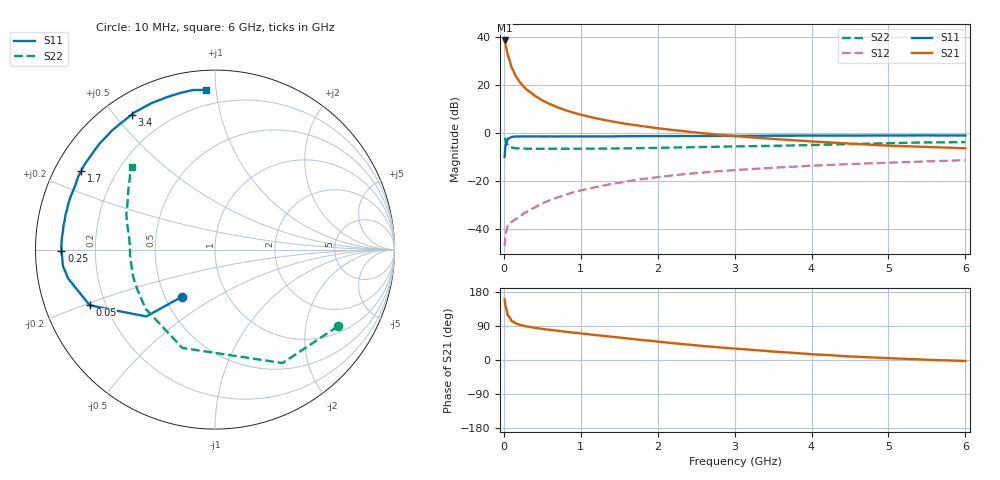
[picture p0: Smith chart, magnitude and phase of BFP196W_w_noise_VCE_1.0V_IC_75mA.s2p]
! (c) 2017  Infineon Technologies AG, Munich
! Infineon Technologies  Discrete & RF Semiconductors
! BFP196W
! VCE =  1.0 V,  IC =  75 mA
! Common Emitter S-Parameters:  Jan 2017
# GHz  S  MA  R  50
!  f  S11  S21  S12  S22
! GHz  MAG  ANG  MAG  ANG  MAG  ANG  MAG  ANG
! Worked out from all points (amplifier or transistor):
!   77 points, 10 MHz to 6 GHz, reference 50 ohm
!   highest |S21| = 38.5 dB at 10 MHz (marker M1)
!   |S21| within 3 dB of that: start of sweep to 31.25 MHz
!   unconditionally stable (mu >= 1): 394.4 MHz to 5.428 GHz; 5.567 GHz to end of sweep
!   at 130 MHz: K = 0.61, MSG = 30.8 dB, |S12| = -36.2 dB
!   at 2.2 GHz: K = 1.06, MAG = 7.9 dB, |S12| = -17.5 dB
!   at 6 GHz: K = 1.02, MAG = 1.7 dB, |S12| = -11.2 dB
!   lowest NFmin = 1.62 dB at 450 MHz
!   S11 on the Smith chart (normalised r, x): 10 MHz: 0.61, -0.36; 50 MHz: 0.14, -0.21; 250 MHz: 0.08, -0.00; 1.7 GHz: 0.08, +0.27; 3.4 GHz: 0.08, +0.55; 6 GHz: 0.11, +0.94
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0.01  0.3212 -125.1  84.05 159.9  0.0045 70.4  0.8067 -32.0
0.02  0.5341 -135.8  71.79 142.9  0.0073 60.9  0.7357 -59.2
0.05  0.764 -156.0  42.23 117.4  0.0121 39.6  0.5774 -108.3
0.1  0.8338 -168.9  23.19 103.1  0.0143 41.5  0.5082 -139.5
0.15  0.8521 -173.8  15.75 97.1  0.0163 44.5  0.4864 -152.8
0.2  0.8526 -177.1  11.89 93.4  0.0178 50.3  0.4817 -159.6
0.25  0.8553 -179.5  9.528 90.5  0.0212 51.9  0.4782 -164.0
0.3  0.8563 178.8  7.94 88.5  0.0234 55.5  0.4752 -167.1
0.4  0.8559 175.7  5.98 84.9  0.0285 59.7  0.4734 -171.2
0.5  0.8532 173.4  4.785 82.1  0.0348 63.0  0.4733 -174.0
0.6  0.8545 171.0  4.006 79.5  0.0405 64.0  0.4752 -176.2
0.7  0.8532 169.0  3.432 77.2  0.0462 65.7  0.4731 -177.9
0.9  0.8541 164.9  2.673 72.4  0.0586 65.9  0.4749 179.6
1.1  0.8567 161.1  2.211 68.0  0.0706 65.5  0.4758 177.1
1.3  0.856 157.2  1.881 63.6  0.0821 64.3  0.4779 175.1
1.7  0.8645 149.7  1.471 54.9  0.1056 61.2  0.4865 170.8
2.1  0.8679 142.4  1.212 46.5  0.1275 56.9  0.4983 166.8
3.1  0.8783 126.2  0.845 28.7  0.1748 46.5  0.5338 157.5
3.4  0.8836 121.7  0.779 24.0  0.1869 43.6  0.5421 154.6
4.1  0.889 112.1  0.66 14.2  0.2138 37.0  0.5713 148.1
5.1  0.8944 101.5  0.543 4.0  0.2465 28.4  0.6233 139.5
6  0.8914 93.1  0.485 -2.7  0.2745 21.2  0.6506 135.1
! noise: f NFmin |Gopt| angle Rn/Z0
0.45  1.62  0.56  -175  0.06
0.9  1.75  0.59  -169  0.07
1.9  2.61  0.7  -148  0.19
2.4  3.01  0.74  -143  0.31
